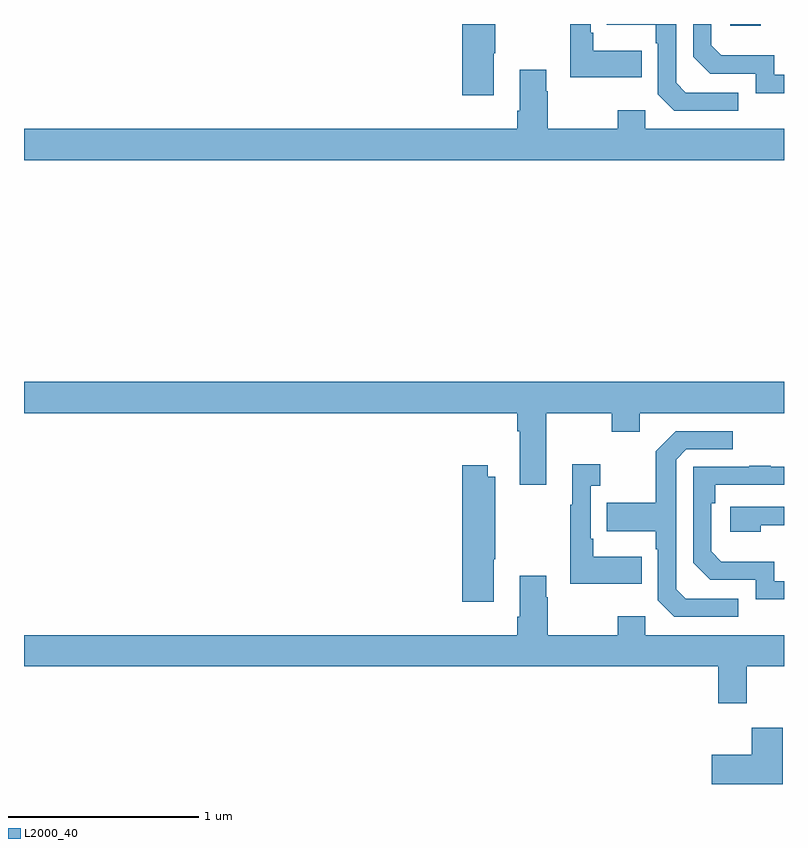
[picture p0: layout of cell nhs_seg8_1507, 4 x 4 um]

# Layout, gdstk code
import gdstk
lib = gdstk.Library(unit=1e-6, precision=1e-09)
def R(c, l, rs):  # rectangles x0, y0, x1, y1
    for r in rs: c.add(gdstk.rectangle(r[:2], r[2:], *l))
def P(c, l, *ps):  # polygons
    for p in ps: c.add(gdstk.Polygon(p, *l))
L2000_40 = (2000, 40)

nhs_seg8_1507 = lib.new_cell('nhs_seg8_1507')
R(nhs_seg8_1507, L2000_40, [(210.717,1099.892,210.878,1099.9)])
P(nhs_seg8_1507, L2000_40, [(209.473,1099.747),(209.481,1099.747),(209.481,1099.9),(209.306,1099.9),(209.306,1099.524),(209.473,1099.524)],
  [(210.76,1099.539),(210.483,1099.539),(210.432,1099.59),(210.432,1099.9),(210.067,1099.9),(210.067,1099.895),(210.324,1099.895),(210.324,1099.799),(210.336,1099.799),(210.336,1099.53),(210.423,1099.443),(210.76,1099.443)],
  [(210.251,1099.759),(209.995,1099.759),(209.995,1099.855),(209.982,1099.855),(209.982,1099.9),(209.874,1099.9),(209.874,1099.619),(210.251,1099.619)],
  [(211,1099.632),(210.948,1099.632),(210.948,1099.735),(210.671,1099.735),(210.618,1099.788),(210.618,1099.9),(210.522,1099.9),(210.522,1099.728),(210.612,1099.638),(210.852,1099.638),(210.852,1099.536),(211,1099.536)],
  [(211,1099.348),(210.27,1099.348),(210.27,1099.447),(210.124,1099.447),(210.124,1099.348),(209.757,1099.348),(209.757,1099.547),(209.749,1099.547),(209.749,1099.66),(209.609,1099.66),(209.609,1099.444),(209.597,1099.444),(209.597,1099.348),(207,1099.348),(207,1099.184),(211,1099.184)],
  [(209.749,1097.852),(210.094,1097.852),(210.094,1097.753),(210.241,1097.753),(210.241,1097.852),(211,1097.852),(211,1098.016),(207,1098.016),(207,1097.852),(209.597,1097.852),(209.597,1097.756),(209.609,1097.756),(209.609,1097.475),(209.749,1097.475)],
  [(210.76,1096.875),(210.483,1096.875),(210.432,1096.926),(210.432,1097.607),(210.486,1097.661),(210.73,1097.661),(210.73,1097.757),(210.429,1097.757),(210.324,1097.651),(210.324,1097.379),(210.067,1097.379),(210.067,1097.231),(210.324,1097.231),(210.324,1097.135),(210.336,1097.135),(210.336,1096.866),(210.423,1096.779),(210.76,1096.779)],
  [(210.251,1097.095),(209.995,1097.095),(209.995,1097.191),(209.982,1097.191),(209.982,1097.471),(210.034,1097.471),(210.034,1097.584),(209.885,1097.584),(209.885,1097.371),(209.874,1097.371),(209.874,1096.955),(210.251,1096.955)],
  [(209.473,1097.083),(209.481,1097.083),(209.481,1097.518),(209.44,1097.518),(209.44,1097.578),(209.306,1097.578),(209.306,1096.86),(209.473,1096.86)],
  [(211,1096.968),(210.948,1096.968),(210.948,1097.071),(210.671,1097.071),(210.618,1097.124),(210.618,1097.378),(210.638,1097.378),(210.638,1097.475),(211,1097.475),(211,1097.571),(210.929,1097.571),(210.929,1097.576),(210.817,1097.576),(210.817,1097.571),(210.522,1097.571),(210.522,1097.064),(210.612,1096.974),(210.852,1096.974),(210.852,1096.872),(211,1096.872)],
  [(210.878,1097.262),(211,1097.262),(211,1097.358),(210.717,1097.358),(210.717,1097.228),(210.878,1097.228)],
  [(210.805,1096.52),(211,1096.52),(211,1096.684),(210.27,1096.684),(210.27,1096.783),(210.124,1096.783),(210.124,1096.684),(209.757,1096.684),(209.757,1096.883),(209.749,1096.883),(209.749,1096.996),(209.609,1096.996),(209.609,1096.78),(209.597,1096.78),(209.597,1096.684),(207,1096.684),(207,1096.52),(210.653,1096.52),(210.653,1096.326),(210.805,1096.326)],
  [(210.994,1096.195),(210.83,1096.195),(210.83,1096.054),(210.621,1096.054),(210.621,1095.9),(210.994,1095.9)])

lib.write_gds('nhs_seg8_1507.gds')
